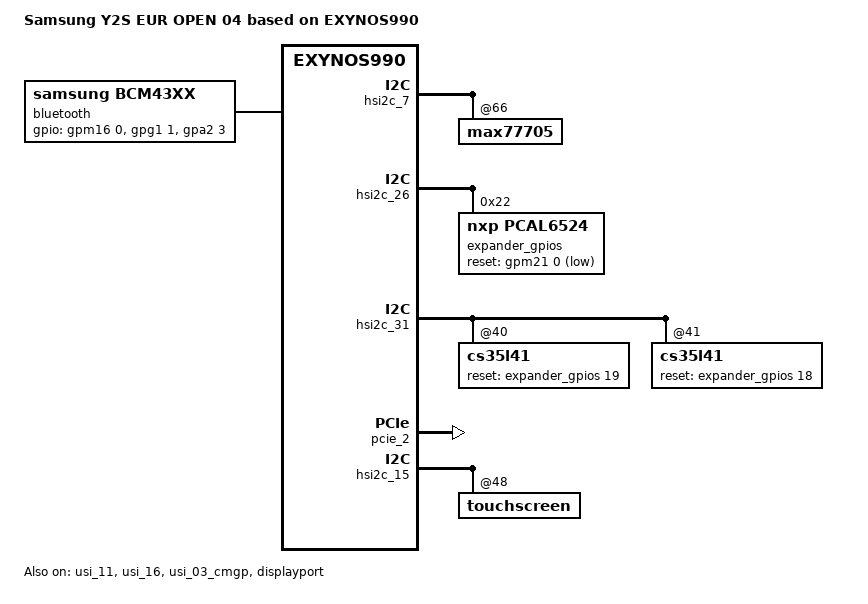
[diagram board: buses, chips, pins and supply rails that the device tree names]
/*
 * SAMSUNG EXYNOS990 board device tree source
 *
 * Copyright (c) 2019 Samsung Electronics Co., Ltd.
 *		http://www.samsung.com
 *
 * This program is free software; you can redistribute it and/or modify
 * it under the terms of the GNU General Public License version 2 as
 * published by the Free Software Foundation.
*/

/dts-v1/;
/plugin/;
#include "exynos9830-y2s_pm_00.dtsi"
#include "exynos990-y2s_common.dtsi"
#include "exynos9830-picasso_nfc_03.dtsi"
#include "../exynos/exynos9830-universal9830-cp-s5123-sipc.dtsi"
#include <dt-bindings/gpio/gpio.h>
#include "exynos9830-sensorhub_03.dtsi"
#include "battery_data_hubbley2_00.dtsi"

#define BOARD_ID	0x10
#define BOARD_REV	0x0

/ {
	compatible = "samsung,Y2S EUR OPEN 04", "samsung,EXYNOS990";
	dtbo-hw_rev = <4>;
	dtbo-hw_rev_end = <4>;
	edtbo-rev = <0>;

	fragment@model {
		target-path = "/";
		__overlay__ {
			#address-cells = <2>;
			#size-cells = <1>;

			model = "Samsung Y2S EUR OPEN 04 based on EXYNOS990";

			acpm_ipc {
				compatible = "samsung,exynos-acpm-ipc";
				board-id = <BOARD_ID>;
				board-rev = <BOARD_REV>;
			};

			pinctrl@15850000 {
				bt_hostwake: bt-hostwake {
					samsung,pins = "gpa2-3";
					samsung,pin-function = <0xF>;
					samsung,pin-pud = <1>;
				};
			};

			pinctrl@10730000 {
				bt_btwake: bt-btwake {
					samsung,pins = "gpg1-1";
					samsung,pin-function = <1>;
					samsung,pin-pud = <0>;
					samsung,pin-con-pdn = <3>;
					samsung,pin-pud-pdn = <0>;
				};
			};

			pinctrl@15C30000 {
				bt_en: bt-en {
					samsung,pins = "gpm16-0";
					samsung,pin-function = <1>;
					samsung,pin-pud = <0>;
					samsung,pin-con-pdn = <3>;
					samsung,pin-pud-pdn = <0>;
				};
			};

			bluetooth {
				compatible = "samsung,bcm43xx";
				gpios = <&gpm16 0 GPIO_ACTIVE_HIGH    /*BT_EN*/
				&gpg1 1 GPIO_ACTIVE_HIGH    /*BT_WAKE*/
				&gpa2 3 GPIO_ACTIVE_HIGH    /*BT_HOST_WAKE*/ >;
				pinctrl-names = "default";
				pinctrl-0=<&bt_en &bt_hostwake &bt_btwake>;
				status = "okay";
			};
		}; /* end of __overlay__ */
	}; /* end of fragment */
}; /* end of root */

&panel_0 {
	/* reset, power */
	gpios = <&gpa3 4 0x1>;
};

&chosen {
	bootargs_ext = "root=/dev/ram0 androidboot.boot_devices=13100000.ufs";
};

&usi_11 {
	usi_v2_mode = "i2c";
	status = "okay";
};

&usi_16 {
	usi_v2_mode = "spi";
	status = "okay";
};

&usi_03_cmgp {
	usi_v2_mode = "i2c";
	status = "okay";
};

&pinctrl_1 {
	expander_reset_active: expander-reset-active {
	       samsung,pins = "gpm21-0";
	       samsung,pin-function = <1>;
	       samsung,pin-pud = <0>;
	       samsung,pin-val = <1>;
       };
};

&hsi2c_7 {
	max77705@66 {
		max77705,extra_fw_enable = <1>;
	};
};

&hsi2c_26 {
	#address-cells = <1>;
	#size-cells = <0>;
	status = "okay";

	expander_gpios: pcal6524@22 {
		compatible = "nxp,pcal6524";
		gpio-controller;
		#gpio-cells = <2>;
		reg = <0x22>;
		pinctrl-names = "default";
		pinctrl-0 = <&expander_reset_active>;
		reset-gpios = <&gpm21 0 GPIO_ACTIVE_LOW>;
	};
};

&hsi2c_31 {
	cs35l41@40 {
		pinctrl-names;
		reset-gpios = <&expander_gpios 19 0>;
	};

	cs35l41@41 {
		pinctrl-names;
		reset-gpios = <&expander_gpios 18 0>;
	};
};

&pinctrl_1 {
	hsi2c44_bus: hsi2c44-bus {
		samsung,pins = "gpm12-0", "gpm13-0";
		samsung,pin-function = <2>;
		samsung,pin-pud = <0>;
		samsung,pin-drv = <0>;
	};
};

&pinctrl_5 {
	aux_oe: aux-oe {
		samsung,pins = "gpp6-2";
		samsung,pin-function = <1>;
		samsung,pin-pud = <0>;
		samsung,pin-con-pdn = <3>;
		samsung,pin-pud-pdn = <0>;
		};

	sbu_sel: sbu-sel {
		samsung,pins = "gpp6-1";
		samsung,pin-function = <1>;
		samsung,pin-pud = <0>;
		samsung,pin-con-pdn = <3>;
		samsung,pin-pud-pdn = <0>;
		};
};

&displayport {
	status = "okay";
	dp,aux_sw_oe = <&gpp6 2 0>;
	dp,sbu_sw_sel = <&gpp6 1 0>;
	dp,usb_con_sel = <&gpm26 0 0>;

	pinctrl-names = "default";
	pinctrl-0 = <&aux_oe &sbu_sel>;
};

&pcie_2 {
	status = "okay";
	chip-ver = <1>;
	use-sysmmu = "false";
	use-cache-coherency = "true";
	use-msi = "true";
	use-pcieon-sleep = "true";
	phy-power-off = "false";
	ep-device-type = <EP_SAMSUNG_MODEM>;
	ep-device-name = "MODEM";
};

&ufs {
	/* board type for UFS CAL */
	evt-ver = /bits/ 8 <1>;
};

&hsi2c_15 {
	touchscreen@48 {
		sec,bringup = <1>;
	};
};

&exynos_is {
	vender {
		ois_gyro_list = <0x01 0x00 0x00 0x00 0x01>;
	};
};
